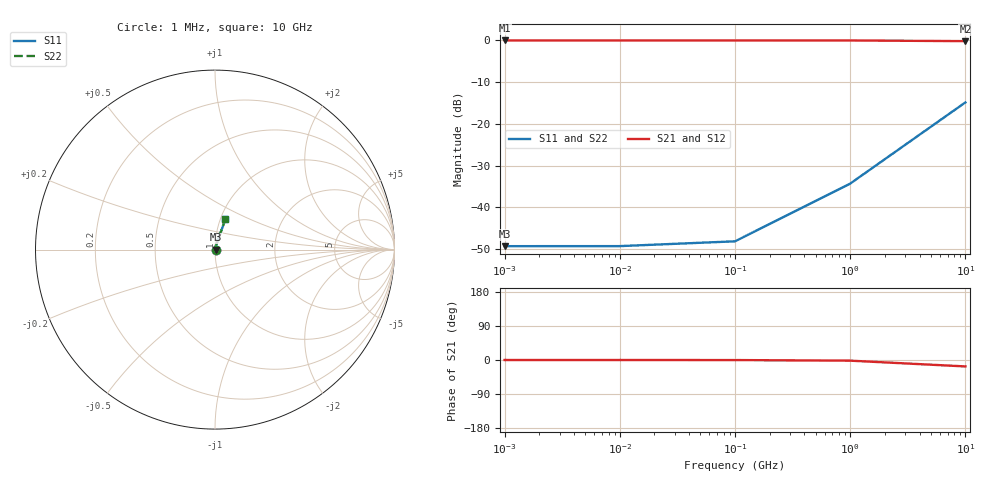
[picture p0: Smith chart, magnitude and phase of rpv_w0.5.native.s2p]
! Sonnet Data File
! From: em Version : 18.53-Lite
! From Project: rpv_w0.5
! Data is NOT De-embedded
! Data File Written: 10/12/2026 10:59:04
!< HDATE 10/12/2026 10:59:04
!< MDATE 10/12/2026 10:59:04
# GHZ S RI R 50.00000
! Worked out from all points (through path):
!   5 points, 1 MHz to 10 GHz, reference 50 ohm
!   highest |S21| = -0.03 dB at 1 MHz (marker M1); lowest = -0.2 dB at 10 GHz (marker M2)
!   lowest |S11| = -49.3 dB at 1 MHz (marker M3), VSWR 1.01, Z = 50.3 + j0.00191 ohm
!   |S11| at or under -10 dB: start of sweep to end of sweep
!   |S22| runs from -49.3 to -14.9 dB; largest |S21 - S12| = 3.1e-13
0.001  0.00344 1.9e-05  0.9966 -3.04e-05  0.9966 -3.04e-05  0.00344 1.9e-05
0.01  0.00344 0.000189  0.9966 -0.000303  0.9966 -0.000303  0.00344 0.000189
0.1  0.00344 0.00189  0.9966 -0.00303  0.9966 -0.00303  0.00344 0.00189
1  0.00411 0.0188  0.9958 -0.0302  0.9958 -0.0302  0.00411 0.0188
10  0.0583 0.1711  0.9352 -0.2853  0.9352 -0.2853  0.0583 0.1711
